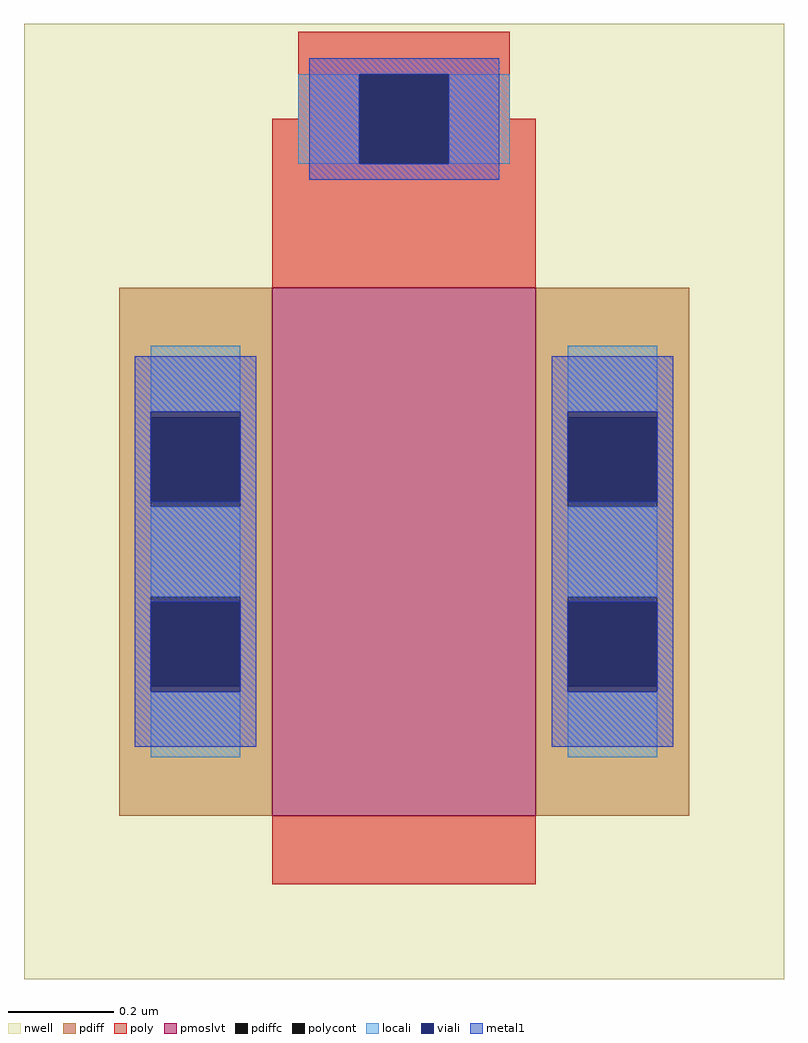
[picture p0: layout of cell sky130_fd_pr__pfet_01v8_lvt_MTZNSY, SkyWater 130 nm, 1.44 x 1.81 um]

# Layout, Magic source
magic
tech sky130A
magscale 1 2
<< nwell >>
rect -144 -198 144 164
<< pmoslvt >>
rect -50 -136 50 64
<< pdiff >>
rect -108 15 -50 64
rect -108 -19 -96 15
rect -62 -19 -50 15
rect -108 -53 -50 -19
rect -108 -87 -96 -53
rect -62 -87 -50 -53
rect -108 -136 -50 -87
rect 50 15 108 64
rect 50 -19 62 15
rect 96 -19 108 15
rect 50 -53 108 -19
rect 50 -87 62 -53
rect 96 -87 108 -53
rect 50 -136 108 -87
<< pdiffc >>
rect -96 -19 -62 15
rect -96 -87 -62 -53
rect 62 -19 96 15
rect 62 -87 96 -53
<< poly >>
rect -40 145 40 161
rect -40 128 -17 145
rect -50 111 -17 128
rect 17 128 40 145
rect 17 111 50 128
rect -50 64 50 111
rect -50 -162 50 -136
<< polycont >>
rect -17 111 17 145
<< locali >>
rect -40 111 -17 145
rect 17 111 40 145
rect -96 17 -62 42
rect -96 -53 -62 -19
rect -96 -114 -62 -89
rect 62 17 96 42
rect 62 -53 96 -19
rect 62 -114 96 -89
<< viali >>
rect -17 111 17 145
rect -96 15 -62 17
rect -96 -17 -62 15
rect -96 -87 -62 -55
rect -96 -89 -62 -87
rect 62 15 96 17
rect 62 -17 96 15
rect 62 -87 96 -55
rect 62 -89 96 -87
<< metal1 >>
rect -36 145 36 151
rect -36 111 -17 145
rect 17 111 36 145
rect -36 105 36 111
rect -102 17 -56 38
rect -102 -17 -96 17
rect -62 -17 -56 17
rect -102 -55 -56 -17
rect -102 -89 -96 -55
rect -62 -89 -56 -55
rect -102 -110 -56 -89
rect 56 17 102 38
rect 56 -17 62 17
rect 96 -17 102 17
rect 56 -55 102 -17
rect 56 -89 62 -55
rect 96 -89 102 -55
rect 56 -110 102 -89
<< end >>
